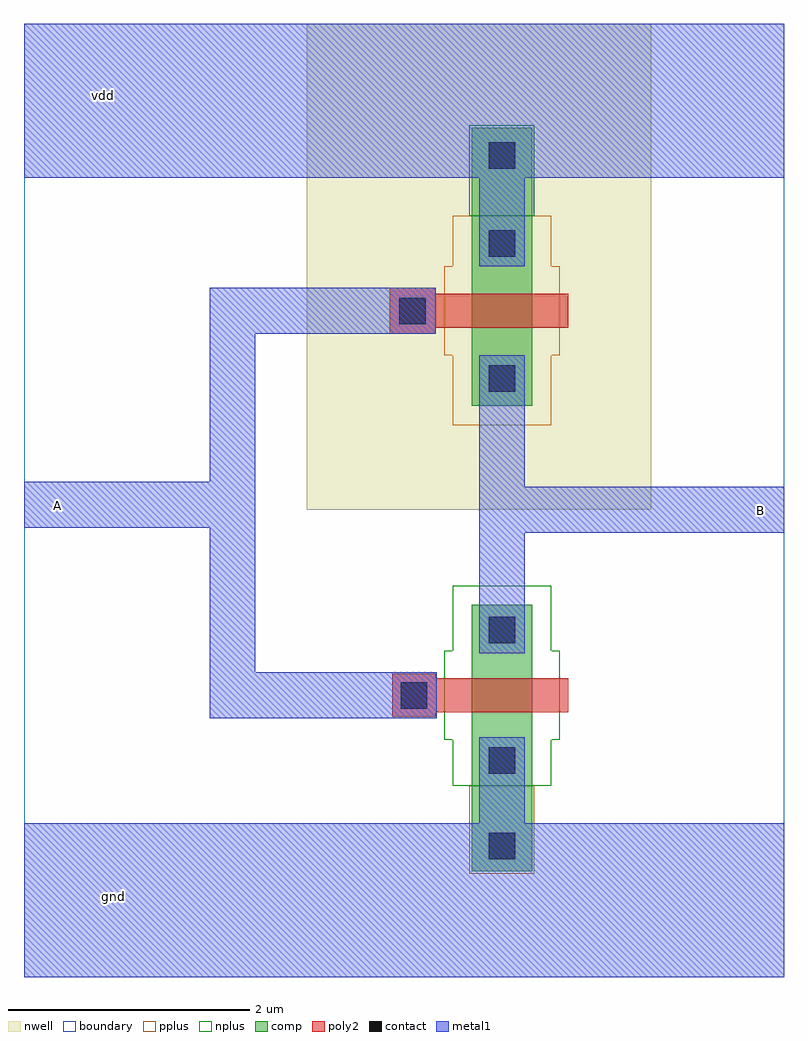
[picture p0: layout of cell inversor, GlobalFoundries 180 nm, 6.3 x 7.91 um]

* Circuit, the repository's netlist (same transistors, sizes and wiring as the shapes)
* NGSPICE file created from inversor.ext - technology: gf180mcuD

.subckt pfet a_28_160# a_n92_0# w_n264_n198#
X0 w_n264_n198# a_28_160# a_n92_0# w_n264_n198# pfet_03v3 ad=0.69p pd=3.76u as=0.325p ps=2.3u w=0.5u l=0.28u
.ends

.subckt nfet a_30_n132# a_n84_0# a_94_0#
X0 a_94_0# a_30_n132# a_n84_0# a_94_0# nfet_03v3 ad=0.66p pd=3.64u as=0.305p ps=2.22u w=0.5u l=0.28u
.ends

.subckt inversor vdd gnd A B
Xpfet_0 A B vdd pfet
Xnfet_0 A B gnd nfet
.ends

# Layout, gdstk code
import gdstk
lib = gdstk.Library(unit=1e-6, precision=1e-09)
def R(c, l, rs):  # rectangles x0, y0, x1, y1
    for r in rs: c.add(gdstk.rectangle(r[:2], r[2:], *l))
boundary = (0, 0)
nwell = (21, 0)
comp = (22, 0)
poly2 = (30, 0)
pplus = (31, 0)
nplus = (32, 0)
contact = (33, 0)
metal1 = (34, 0)

inversor = lib.new_cell('inversor')
R(inversor, boundary, [(0,0,6.305,7.91)])
R(inversor, nwell, [(2.345,3.88,5.205,7.91)])
R(inversor, comp, [(3.715,0.88,4.215,3.09), (3.715,4.74,4.215,7.05)])
R(inversor, poly2, [(3.055,2.16,3.415,2.52), (3.415,2.2,4.515,2.48), (3.035,5.34,3.415,5.72), (3.415,5.39,4.515,5.67)])
R(inversor, pplus, [(3.695,0.86,4.235,1.59), (3.555,4.58,4.375,6.32), (3.485,5.16,3.555,5.9), (4.375,5.16,4.445,5.9)])
R(inversor, nplus, [(3.555,1.59,4.375,3.25), (3.485,1.97,3.555,2.71), (4.375,1.97,4.445,2.71), (3.695,6.32,4.235,7.07)])
R(inversor, contact, [(3.855,0.98,4.075,1.2), (3.855,1.69,4.075,1.91), (3.125,2.23,3.345,2.45), (3.855,2.77,4.075,2.99), (3.855,4.86,4.075,5.08), (3.115,5.42,3.335,5.64), (3.855,5.98,4.075,6.2), (3.855,6.71,4.075,6.93)])
R(inversor, metal1, [(0,0,6.305,1.28), (3.775,0.9,4.155,1.28), (3.775,1.28,4.155,1.61), (3.775,1.61,4.155,1.99), (1.54,2.15,3.055,2.53), (3.045,2.15,3.425,2.53), (1.54,2.53,1.92,3.73), (3.775,2.69,4.155,3.07), (3.775,3.07,4.155,3.69), (3.775,3.69,6.305,4.07), (0,3.73,1.92,4.11), (3.775,4.07,4.155,4.78), (1.54,4.11,1.92,5.34), (3.775,4.78,3.965,5.16), (3.775,4.78,4.155,5.16), (1.54,5.34,3.225,5.72), (3.035,5.34,3.415,5.72), (3.775,5.9,4.155,6.28), (3.775,6.28,4.155,6.63), (3.775,6.63,4.155,7.01), (0,6.632,6.305,7.912)])
inversor.add(gdstk.Label('vdd', (0.66,7.32), layer=34, texttype=10))
inversor.add(gdstk.Label('gnd', (0.745,0.67), layer=34, texttype=10))
inversor.add(gdstk.Label('A', (0.28,3.915), layer=34, texttype=10))
inversor.add(gdstk.Label('B', (6.11,3.875), layer=34, texttype=10))

lib.write_gds('inversor.gds')
